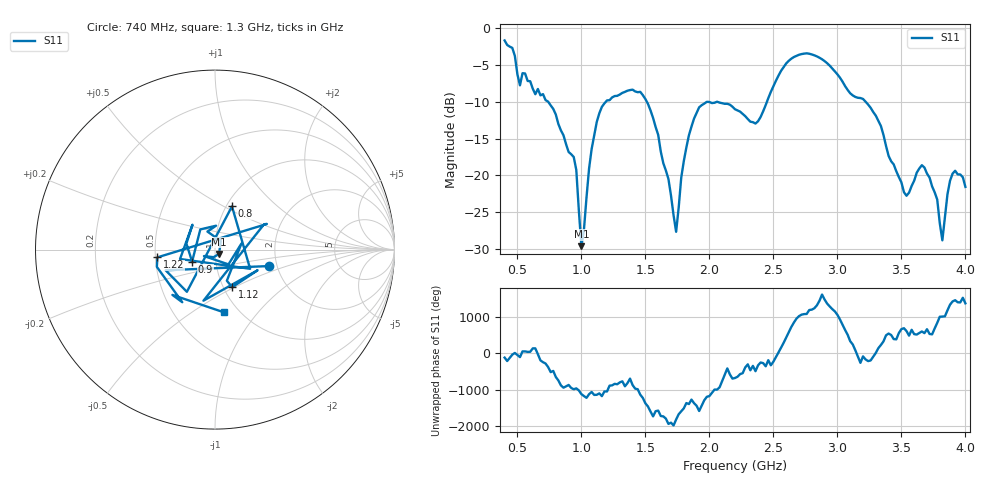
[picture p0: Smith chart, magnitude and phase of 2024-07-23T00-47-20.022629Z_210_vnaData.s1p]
!Created with skrf (http://scikit-rf.org).
# Hz S RI R 50.0
!freq ReS11 ImS11
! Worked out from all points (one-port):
!   181 points, 400 MHz to 4 GHz, reference 50 ohm
!   lowest |S11| = -29.6 dB at 1 GHz (marker M1), VSWR 1.07, Z = 52.2 - j2.53 ohm
!   |S11| at or under -10 dB: 740 MHz to 1.191 GHz (451.4 MHz wide, 46.7 % of centre); 1.511 GHz to 2.45 GHz (938.9 MHz wide, 47.4 % of centre); 3.22 GHz to end of sweep
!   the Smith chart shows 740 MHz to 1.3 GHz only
!   S11 on the Smith chart (normalised r, x): 740 MHz: 1.82, -0.37; 800 MHz: 1.06, +0.55; 900 MHz: 0.77, -0.11; 1.12 GHz: 1.10, -0.49; 1.22 GHz: 0.51, -0.05; 1.3 GHz: 0.86, -0.68
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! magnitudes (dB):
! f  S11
! 400 MHz  -1.7
! 520 MHz  -7.8
! 740 MHz  -10.0
! 800 MHz  -11.7
! 860 MHz  -14.6
! 900 MHz  -16.8
! 960 MHz  -19.3
! 1 GHz  -29.6
! 1.12 GHz  -12.7
! 1.22 GHz  -9.8
! 1.3 GHz  -9.0
! 1.52 GHz  -10.3
! 1.68 GHz  -20.5
! 1.74 GHz  -27.7
! 1.76 GHz  -24.4
! 1.82 GHz  -16.2
! 1.92 GHz  -10.8
! 2.2 GHz  -11.0
! 2.36 GHz  -13.0
! 2.66 GHz  -3.9
! 3.1 GHz  -8.9
! 3.3 GHz  -11.9
! 3.56 GHz  -22.3
! 3.68 GHz  -18.9
! 3.78 GHz  -23.3
! 3.82 GHz  -28.8
! 3.9 GHz  -19.8
! 4 GHz  -21.6
